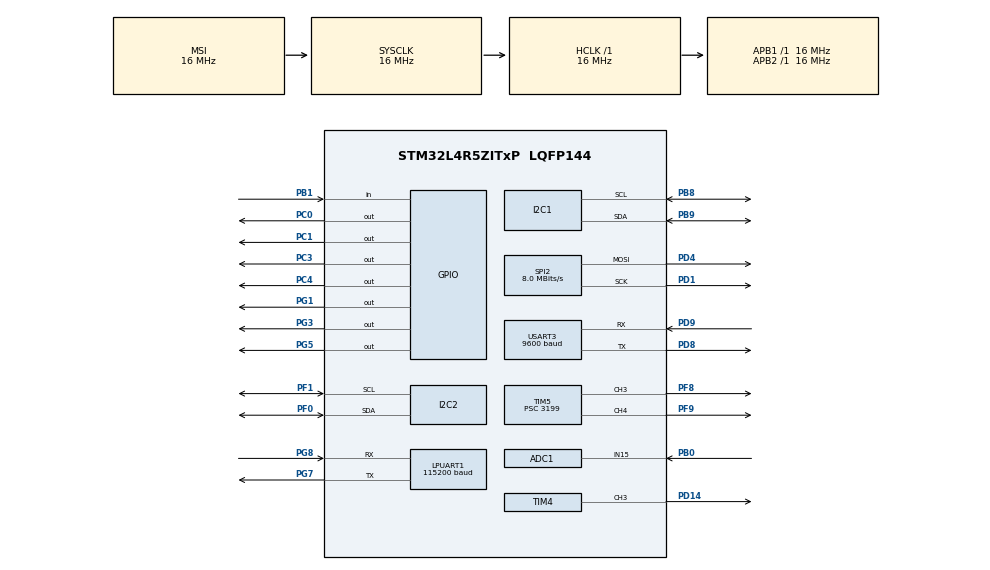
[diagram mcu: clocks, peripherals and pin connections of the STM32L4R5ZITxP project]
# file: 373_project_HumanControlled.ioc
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ADC1.Channel-4\#ChannelRegularConversion=ADC_CHANNEL_15
ADC1.NbrOfConversionFlag=1
ADC1.OffsetNumber-4\#ChannelRegularConversion=ADC_OFFSET_NONE
ADC1.Rank-4\#ChannelRegularConversion=1
ADC1.SamplingTime-4\#ChannelRegularConversion=ADC_SAMPLETIME_2CYCLES_5
ADC1.master=1
Dma.Request0=SPI2_TX
Dma.Request1=TIM4_CH3
Dma.SPI2_TX.0.Direction=DMA_MEMORY_TO_PERIPH
Dma.SPI2_TX.0.EventEnable=DISABLE
Dma.SPI2_TX.0.Instance=DMA1_Channel1
Dma.SPI2_TX.0.MemDataAlignment=DMA_MDATAALIGN_BYTE
Dma.SPI2_TX.0.MemInc=DMA_MINC_ENABLE
Dma.SPI2_TX.0.Mode=DMA_NORMAL
Dma.SPI2_TX.0.PeriphDataAlignment=DMA_PDATAALIGN_BYTE
Dma.SPI2_TX.0.PeriphInc=DMA_PINC_DISABLE
Dma.SPI2_TX.0.Polarity=HAL_DMAMUX_REQUEST_GEN_RISING
Dma.SPI2_TX.0.Priority=DMA_PRIORITY_LOW
Dma.SPI2_TX.0.RequestNumber=1
Dma.SPI2_TX.0.SignalID=NONE
Dma.SPI2_TX.0.SyncEnable=DISABLE
Dma.SPI2_TX.0.SyncPolarity=HAL_DMAMUX_SYNC_NO_EVENT
Dma.SPI2_TX.0.SyncRequestNumber=1
Dma.SPI2_TX.0.SyncSignalID=NONE
Dma.TIM4_CH3.1.Direction=DMA_MEMORY_TO_PERIPH
Dma.TIM4_CH3.1.EventEnable=DISABLE
Dma.TIM4_CH3.1.Instance=DMA1_Channel3
Dma.TIM4_CH3.1.MemDataAlignment=DMA_MDATAALIGN_WORD
Dma.TIM4_CH3.1.MemInc=DMA_MINC_ENABLE
Dma.TIM4_CH3.1.Mode=DMA_NORMAL
Dma.TIM4_CH3.1.PeriphDataAlignment=DMA_PDATAALIGN_WORD
Dma.TIM4_CH3.1.PeriphInc=DMA_PINC_DISABLE
Dma.TIM4_CH3.1.Polarity=HAL_DMAMUX_REQUEST_GEN_RISING
Dma.TIM4_CH3.1.Priority=DMA_PRIORITY_HIGH
Dma.TIM4_CH3.1.RequestNumber=1
Dma.TIM4_CH3.1.SignalID=NONE
Dma.TIM4_CH3.1.SyncEnable=DISABLE
Dma.TIM4_CH3.1.SyncPolarity=HAL_DMAMUX_SYNC_NO_EVENT
Dma.TIM4_CH3.1.SyncRequestNumber=1
Dma.TIM4_CH3.1.SyncSignalID=NONE
I2C1.Timing=0x00503D58
I2C2.Timing=0x00503D58
LPUART1.BaudRate=115200
LPUART1.WordLength=UART_WORDLENGTH_8B
Mcu.Family=STM32L4
Mcu.Name=STM32L4R5ZITxP
Mcu.Package=LQFP144
NVIC.DMA1_Channel1_IRQn=true\:0\:0\:false\:false\:true\:false\:true\:true
NVIC.DMA1_Channel3_IRQn=true\:0\:0\:false\:false\:true\:false\:true\:true
NVIC.PriorityGroup=NVIC_PRIORITYGROUP_4
NVIC.USART3_IRQn=true\:0\:0\:false\:false\:true\:true\:true\:true
PB0.Signal=ADCx_IN15
PB1.GPIO_PuPd=GPIO_PULLUP
PB1.Signal=GPIO_Input
PB8.Mode=I2C
PB8.Signal=I2C1_SCL
PB9.Mode=I2C
PB9.Signal=I2C1_SDA
PC0.Signal=GPIO_Output
PC1.Signal=GPIO_Output
PC3.Signal=GPIO_Output
PC4.Signal=GPIO_Output
PD1.Mode=TX_Only_Simplex_Unidirect_Master
PD1.Signal=SPI2_SCK
PD14.Signal=S_TIM4_CH3
PD4.Mode=TX_Only_Simplex_Unidirect_Master
PD4.Signal=SPI2_MOSI
PD8.Mode=Asynchronous
PD8.Signal=USART3_TX
PD9.Mode=Asynchronous
PD9.Signal=USART3_RX
PF0.Mode=I2C
PF0.Signal=I2C2_SDA
PF1.Mode=I2C
PF1.Signal=I2C2_SCL
PF8.Signal=S_TIM5_CH3
PF9.Signal=S_TIM5_CH4
PG1.Signal=GPIO_Output
PG3.Signal=GPIO_Output
PG5.Signal=GPIO_Output
PG7.Mode=Asynchronous
PG7.Signal=LPUART1_TX
PG8.Mode=Asynchronous
PG8.Signal=LPUART1_RX
ProjectManager.HeapSize=0x200
ProjectManager.StackSize=0x400
ProjectManager.TargetToolchain=STM32CubeIDE
RCC.ADCFreq_Value=64000000
RCC.AHBFreq_Value=16000000
RCC.APB1Freq_Value=16000000
RCC.APB1TimFreq_Value=16000000
RCC.APB2Freq_Value=16000000
RCC.APB2TimFreq_Value=16000000
RCC.CortexFreq_Value=16000000
RCC.HCLKFreq_Value=16000000
RCC.HSE_VALUE=8000000
RCC.HSI48_VALUE=48000000
RCC.HSI_VALUE=16000000
RCC.LSE_VALUE=32768
RCC.MSIClockRange=RCC_MSIRANGE_8
RCC.MSI_VALUE=16000000
RCC.SYSCLKFreq_VALUE=16000000
RCC.USBFreq_Value=64000000
RCC.VCOOutputFreq_Value=128000000
SH.ADCx_IN15.0=ADC1_IN15,IN15-Single-Ended
SH.S_TIM4_CH3.0=TIM4_CH3,PWM Generation3 CH3
SH.S_TIM5_CH3.0=TIM5_CH3,PWM Generation3 CH3
SH.S_TIM5_CH4.0=TIM5_CH4,PWM Generation4 CH4
SPI2.CalculateBaudRate=8.0 MBits/s
SPI2.DataSize=SPI_DATASIZE_8BIT
SPI2.Direction=SPI_DIRECTION_2LINES
SPI2.Mode=SPI_MODE_MASTER
SPI2.VirtualType=VM_MASTER
TIM4.AutoReloadPreload=TIM_AUTORELOAD_PRELOAD_ENABLE
TIM4.Channel-PWM\ Generation3\ CH3=TIM_CHANNEL_3
TIM4.Period=19
TIM5.Channel-PWM\ Generation3\ CH3=TIM_CHANNEL_3
TIM5.Channel-PWM\ Generation4\ CH4=TIM_CHANNEL_4
TIM5.Period=99
TIM5.Prescaler=3199
USART3.BaudRate=9600
USART3.VirtualMode-Asynchronous=VM_ASYNC
VP_TIM5_VS_ClockSourceINT.Mode=Internal
board=NUCLEO-L4R5ZI-P

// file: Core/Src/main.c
/* USER CODE BEGIN Header */
/**
  ******************************************************************************
  * @file           : main.c
  * @brief          : Main program body
  ******************************************************************************
  * @attention
  *
  * Copyright (c) 2026 STMicroelectronics.
  * All rights reserved.
  *
  * This software is licensed under terms that can be found in the LICENSE file
  * in the root directory of this software component.
  * If no LICENSE file comes with this software, it is provided AS-IS.
  *
  ******************************************************************************
  */
/* USER CODE END Header */
#include "main.h"

/* USER CODE BEGIN Includes */
#include "BNO055_STM32.h"
#include "st7789.h"
#include "ws2812.h"
#include "fonts.h"
#include <stdio.h>
#include <string.h>

// JC NFC Starts
#include <PN532.h>
// JC NFC Ends

/* USER CODE END Includes */

/* USER CODE BEGIN PD */
#define led_ARR 19
#define led_T1H 13
#define led_T0H 6

#define RX_BUFFER_SIZE 64          // Maximum length of an incoming message
/* USER CODE END PD */

ADC_HandleTypeDef hadc1;

I2C_HandleTypeDef hi2c1;
I2C_HandleTypeDef hi2c2;

UART_HandleTypeDef hlpuart1;
UART_HandleTypeDef huart3;

SPI_HandleTypeDef hspi2;
DMA_HandleTypeDef hdma_spi2_tx;

TIM_HandleTypeDef htim4;
TIM_HandleTypeDef htim5;
DMA_HandleTypeDef hdma_tim4_ch3;

/* USER CODE BEGIN PV */
static float robot_width=0.1; //10cm
volatile int powerup_acquired = 1;
int next_state_bl = 0;
volatile uint32_t last_btn_press = 0;
int send_starman = 0;

volatile uint32_t lap_start_time = 0;
volatile uint32_t last_lap_time = 0;
volatile uint32_t current_lap_time = 0;
volatile uint8_t  is_racing = 0; // 0 = stopped, 1 = running

volatile uint32_t car1_last_time = 0;
volatile uint32_t car1_best_time = 0xFFFFFFFF; // 0xFFFFFFFF acts as our "empty" state

volatile uint32_t car2_last_time = 0;
volatile uint32_t car2_best_time = 0xFFFFFFFF;

static char tx_buffer[32];
/* USER CODE END PV */

void SystemClock_Config(void);
static void MX_GPIO_Init(void);
static void MX_DMA_Init(void);
static void MX_TIM5_Init(void);
static void MX_I2C1_Init(void);
static void MX_LPUART1_UART_Init(void);
static void MX_ADC1_Init(void);
static void MX_SPI2_Init(void);
static void MX_I2C2_Init(void);
static void MX_TIM4_Init(void);
static void MX_USART3_UART_Init(void);

/* USER CODE BEGIN 0 */
uint8_t rx_byte;                   // Temporary storage for the single byte just received
uint8_t rx_index = 0;              // Current position in the buffer
char rx_buffer[RX_BUFFER_SIZE];    // Array to hold the full incoming string
volatile uint8_t rx_data_ready = 0; // Flag to indicate a full message has arrived

void record_lap(int car_number, uint32_t lap_time_ms) {
    if (car_number == 1) { // let 1 be the wall-e
        car1_last_time = lap_time_ms;
        if (lap_time_ms < car1_best_time) {
            car1_best_time = lap_time_ms;
        }
    }
    else if (car_number == 2) { // regular car
        car2_last_time = lap_time_ms;
        if (lap_time_ms < car2_best_time) {
            car2_best_time = lap_time_ms;
        }
    }
}

void print_time_line(uint16_t y, const char* label, uint32_t time_ms, uint16_t color) {
    char buf[32];

    // If no lap has been recorded yet, show dashes
    if (time_ms == 0xFFFFFFFF || time_ms == 0) {
        sprintf(buf, "%s: --.-- s", label);
    } else {
        uint32_t sec = time_ms / 1000;
        uint32_t hun = (time_ms % 1000) / 10;
        sprintf(buf, "%s: %3lu.%02lu s", label, sec, hun);
    }

    ST7789_WriteString(10, y, buf, Font_11x18, color, BLACK);
}

void update_lcd_display(void) {
    // --- Car 1 ---
    print_time_line(20, "C1 Best Time", car1_best_time, YELLOW);
    print_time_line(45, "C1 Last Time", car1_last_time, RED);

    // --- Car 2 ---
    print_time_line(90, "C2 Best Time", car2_best_time, CYAN);
    print_time_line(115,"C2 Last Time", car2_last_time, BLUE);
}

void HAL_GPIO_EXTI_Callback(uint16_t pin) {
	if (pin == GPIO_PIN_13) {
		uint32_t current_time = HAL_GetTick();

		// 2. Only execute if 200 milliseconds have passed since the last press
		if (current_time - last_btn_press > 200) {

			HAL_GPIO_WritePin(GPIOB, GPIO_PIN_7, next_state_bl);
			powerup_acquired = 0;
			next_state_bl = !next_state_bl;

			// 3. Update the last press time
			last_btn_press = current_time;

			send_starman = 1;
		}
	}
}

void trigger_lap(void) {
    if (is_racing == 0) {
        // Start the race for the very first time
        lap_start_time = HAL_GetTick();
        is_racing = 1;
    } else {
        // We are already racing, so save the current time as our "Last Lap"
        last_lap_time = HAL_GetTick() - lap_start_time;
        // Reset the start time for the next lap
        lap_start_time = HAL_GetTick();
    }
}

// Call this constantly in your main loop to update the clock
void update_stopwatch(void) {
    if (is_racing == 1) {
        current_lap_time = HAL_GetTick() - lap_start_time;
    }
}

//DRV8833 has IN1 as forward and IN2 as backward.
// IN1=PD15=CH4, IN2=PD14=CH3
//speed is -100 to 100
void motor_a_set (int speed){
	speed = speed > 100 ? 100 : (speed < -100 ? -100 : speed);
	if (speed > 0) {
	   //IN1, IN2 = 1,0; PC0, PC1
		HAL_GPIO_WritePin(GPIOC, GPIO_PIN_0, GPIO_PIN_SET);
		HAL_GPIO_WritePin(GPIOC, GPIO_PIN_1, GPIO_PIN_RESET);
		//ENA = PWM , PF8 TIM5_CH3
		TIM5->CCR3 = speed;
	} else if (speed < 0) {
		 //IN1, IN2 = 0,1; PC0, PC1
		HAL_GPIO_WritePin(GPIOC, GPIO_PIN_0, GPIO_PIN_RESET);
		HAL_GPIO_WritePin(GPIOC, GPIO_PIN_1, GPIO_PIN_SET);
		//ENB = PWM , PF9 TIM5_CH3
		TIM5->CCR3 = -speed;
	} else {
		TIM5->CCR3 = 0;      // stop
	}
}
void motor_b_set (int speed){
	speed = speed > 100 ? 100 : (speed < -100 ? -100 : speed);
	if (speed > 0) {
	   //IN3, IN4 = 1,0; PC3, PC4
		HAL_GPIO_WritePin(GPIOC, GPIO_PIN_3, GPIO_PIN_SET);
		HAL_GPIO_WritePin(GPIOC, GPIO_PIN_4, GPIO_PIN_RESET);
		//ENB = PWM , PF9 TIM5_CH4
		TIM5->CCR4 = speed;
	} else if (speed < 0) {
		 //IN1, IN2 = 0,1; PC0, PC1
		HAL_GPIO_WritePin(GPIOC, GPIO_PIN_3, GPIO_PIN_RESET);
		HAL_GPIO_WritePin(GPIOC, GPIO_PIN_4, GPIO_PIN_SET);
		//ENB = PWM , PF9 TIM5_CH4
		TIM5->CCR4 = -speed;
	} else {
		TIM5->CCR4 = 0;      // stop
		HAL_GPIO_WritePin(GPIOC, GPIO_PIN_3, GPIO_PIN_SET);
		HAL_GPIO_WritePin(GPIOC, GPIO_PIN_4, GPIO_PIN_SET);
	}
}
void test_motor_set (){
	motor_a_set(10);
	HAL_Delay(2000);
	motor_a_set(100);
	HAL_Delay(4000);
	motor_a_set(-50);
	HAL_Delay(2000);
	motor_a_set(-100);
	HAL_Delay(2000);
	motor_a_set(0);
	HAL_Delay(8000);

	motor_b_set(10);
	HAL_Delay(2000);
	motor_b_set(100);
	HAL_Delay(4000);
	motor_b_set(-50);
	HAL_Delay(2000);
	motor_b_set(-100);
	HAL_Delay(2000);
	motor_b_set(0);
	HAL_Delay(2000);

}
//w is rad per sec, w=0 straight, w>0 is go to left, and w<0 is go to right
//speed is -100 to 100.
void drive (int w_speed, int speed){
    // Change HAL_UART_GetState(&huart3) to huart3.gState
	if (huart3.gState == HAL_UART_STATE_READY && send_starman == 0) {

        sprintf(tx_buffer, "{%d,%d}\r\n", speed, -w_speed);
        HAL_UART_Transmit_IT(&huart3, (uint8_t*)tx_buffer, strlen(tx_buffer));

    }
    else if (huart3.gState == HAL_UART_STATE_READY) {

        //sending starman when we have an interrupt happen
        sprintf(tx_buffer, "{STARMAN}\r\n");
        HAL_UART_Transmit_IT(&huart3, (uint8_t*)tx_buffer, strlen(tx_buffer));
        send_starman = 0;
    }

    // Minor fix: It is safer to use printf("%s", ...) rather than printf(buffer)
    //printf("%s", tx_buffer);
    HAL_Delay(50);
}
void test_drive (void){
	drive(0, 20);
	HAL_Delay(500);
	drive(200, 0);
	HAL_Delay(500);
}
int32_t read_IMU (){
	static BNO055_Sensors_t sensors = {0};
	static BNO055_Sensors_t sensors_old = {0};
	ReadData(&sensors, SENSOR_EULER | SENSOR_LINACC);
	if (sensors.Euler.Z > sensors_old.Euler.Z + 100) sensors.Euler.Z = sensors_old.Euler.Z;
	sensors_old=sensors;
	return (int32_t)sensors.Euler.Z; // 60 is offset needed for controller
}
void test_IMU (){
	  printf("pitch: %ld deg\n", read_IMU());
}
// Returns -4 to 27 based on scaled down and offset Raw 12-bit ADC value (0–4095) from PB0 / ADC1_IN15
int32_t read_adc(void) {
    HAL_ADC_Start(&hadc1);
    HAL_ADC_PollForConversion(&hadc1, HAL_MAX_DELAY);
    return (int32_t)(2750-HAL_ADC_GetValue(&hadc1))/100;
}
void test_read_adc(void){
	printf("joystick data: %ld\n", read_adc() );
}
void test_adc_IMU(void){
	printf("pitch: %ld deg, joystick data: %ld\n", read_IMU(), read_adc());
}
int read_joystick_sw(void){
	return HAL_GPIO_ReadPin(GPIOB, GPIO_PIN_1) == GPIO_PIN_RESET; // 1 when pressed, 0 when not
}
void drive_controller (){
	int32_t speed = read_adc()*4;
	if (speed == 4) {
		speed = 0;
	}
	int32_t w_speed = read_IMU()*4 + 60;

	int sw = read_joystick_sw();
	static int last_sw_state = 0; // Remembers the switch state between loops

	// Only flag to send STARMAN if the switch is pressed NOW, but wasn't pressed LAST LOOP
	if (sw == 1 && last_sw_state == 0) {
		send_starman = 1;
		printf("STARMAN triggered via Joystick!\r\n");
	}

	// Update the switch state for the next time the loop runs
	last_sw_state = sw;

	drive(w_speed,speed);

	//printf("speed: %ld , ang_speed: %ld, sw: %d\n", speed, w_speed, sw);
}
void do_nfc_and_strip (){
	static uint8_t uid[7] = {0};
	static uint8_t uidLen = 0;
	static uint8_t boost_on = 0;
	static int boost_max_time = 10000;
	static int boost_start_time = 0;
	static int boost_current_time = 0;

	if(PN532_ReadPassiveTargetID(uid, &uidLen) == HAL_OK){
		HAL_Delay(50);
		// Power-Up Trigger (UID: 0x4, 0x59, 0x45, 0x69, 0xBC, 0x2A, 0x81)
		// JC Note: Think that the UID for all of them is 0x2009ffec but the idv uid[i] are dif
//		if( (uid[0] == 0x4) && (uid[1] == 0x59) && (uid[2] == 0x45) && (uid[3] == 0x69) && (uid[4] == 0xBC) && (uid[5] == 0x2A) && (uid[6] == 0x81) ){
		if( (uid[0] == 0x4) && (uid[1] == 0xE8) && (uid[2] == 0xFA) && (uid[3] == 0x68) && (uid[4] == 0xBC) && (uid[5] == 0x2A) && (uid[6] == 0x81) ){
			boost_on = 1;
			boost_start_time = HAL_GetTick();
		}
	} else {
		// Clear
		for(int i = 0; i < 7; i++) uid[i] = 0;
		HAL_Delay(50);
	}

	if(boost_on){
		doStar();
		boost_current_time = HAL_GetTick();
		if((boost_current_time - boost_start_time) >= boost_max_time){
			boost_on = 0;
		}
	}
}
void do_scoreboard (){
	for (int i=0; i<9; i++){
	  Scoreboard_Update(1);
	  //HAL_Delay(1000);
	  Scoreboard_Update(2);
	  //HAL_Delay(1000);
	}
	Scoreboard_Update(0);
}
/* USER CODE END 0 */

int main(void)
{

  /* MCU Configuration--------------------------------------------------------*/

  /* Reset of all peripherals, Initializes the Flash interface and the Systick. */
  HAL_Init();

  /* Configure the system clock */
  SystemClock_Config();

  /* Initialize all configured peripherals */
  MX_GPIO_Init();
  MX_DMA_Init();
  MX_TIM5_Init();
  MX_I2C1_Init();
  MX_LPUART1_UART_Init();
  MX_ADC1_Init();
  MX_SPI2_Init();
  MX_I2C2_Init();
  MX_TIM4_Init();
  MX_USART3_UART_Init();
  /* USER CODE BEGIN 2 */
  HAL_TIM_PWM_Start(&htim5, TIM_CHANNEL_3);
  HAL_TIM_PWM_Start(&htim5, TIM_CHANNEL_4);
  HAL_ADC_Start(&hadc1);

  BNO055_Init_t bno_init = {
      .Unit_Sel    = UNIT_ORI_WINDOWS | UNIT_EUL_DEG | UNIT_GYRO_DPS | UNIT_ACC_MS2 | UNIT_TEMP_CELCIUS,
      .Axis        = DEFAULT_AXIS_REMAP,
      .Axis_sign   = DEFAULT_AXIS_SIGN,
      .Mode        = BNO055_NORMAL_MODE,
      .OP_Modes    = IMU,
      .Clock_Source = CLOCK_INTERNAL,
      .ACC_Range   = Range_4G
  };
  BNO055_Init(bno_init);
  ST7789_Init(); //if module disconnected, it wont get to the while.
  ST7789_Fill_Color(BLACK);
  update_lcd_display();
  ws2812_init(&htim4);

//  ws2812_set_pixel(0,255,255,255);

//  ws2812_set_pixel(0, 200, 0,   0);   // red
//  ws2812_set_pixel(1, 0,   200, 0);   // green
//  ws2812_set_pixel(2, 0,   0,   255); // blue
//
//  ws2812_show();

  // JC NFC Starts

  HAL_Delay(1000);
  PN532_Init(&hi2c2);
  HAL_Delay(1000);

  // JC NFC Ends

  HAL_UART_Receive_IT(&huart3, &rx_byte, 1);

  /* USER CODE END 2 */

  /* Infinite loop */
  /* USER CODE BEGIN WHILE */
//  BNO055_Sensors_t sensors_old = {0};
//  BNO055_Sensors_t sensors = {0};
//  int null_thresh= 0.
  while (1)
  {
    /* USER CODE END WHILE */

    /* USER CODE BEGIN 3 */
//	  test_motor_set();
//	  test_drive();
//	  test_IMU();
//	  test_read_adc();
//	  test_adc_IMU();

	if (rx_data_ready == 1) {
		char extracted_message[RX_BUFFER_SIZE];
		uint32_t received_time = 0;

		// Parse the data between the brackets
		// %31[^}] means "read up to 31 characters, stopping when you hit a '}'"
		if (sscanf(rx_buffer, "{%31[^}]}", extracted_message) == 1) {
			printf("Valid message received: %s\r\n", extracted_message);

			// Check if the message is the "jetson" trigger for Car 1
			if (strstr(extracted_message, "jetson") != NULL) {
			    if (is_racing == 0) {
			        // Start the internal timer for Car 1
			        lap_start_time = HAL_GetTick();
			        is_racing = 1;
			        printf("Car 1 Race Started!\r\n");
			    } else {
			        // Calculate Car 1 lap time based on internal ticks
			        uint32_t current_time = HAL_GetTick();
			        uint32_t lap_time = current_time - lap_start_time;

			        // Reset the start time for the next lap
			        lap_start_time = current_time;

			        // Record and update screen
			        record_lap(1, lap_time);
			        update_lcd_display();
			        printf("Car 1 Lap Recorded: %lu ms\r\n", lap_time);
			    }
			}
			// If not "jetson", check if it is a numeric lap time for Car 2
			else if (sscanf(extracted_message, "%lu", &received_time) == 1) {
				// Record the parsed time for Car 2 and update screen
				record_lap(2, received_time);
				update_lcd_display();
				printf("Car 2 Lap Recorded: %lu ms\r\n", received_time);
			}
			else {
				// Handle unknown bracketed messages
				printf("Unknown command received: %s\r\n", extracted_message);
			}

		} else {
			printf("Invalid format received: %s\r\n", rx_buffer);
		}

		// Reset the flag to listen for the next message
		rx_data_ready = 0;
	}

	  drive_controller();
//	  ST7789_Test();
//	  update_lcd_display();
//	  do_scoreboard();
//	  doStar();
//	  do_nfc_and_strip();

  }
  /* USER CODE END 3 */
}

void SystemClock_Config(void)
{
  RCC_OscInitTypeDef RCC_OscInitStruct = {0};
  RCC_ClkInitTypeDef RCC_ClkInitStruct = {0};

  /** Configure the main internal regulator output voltage
  */
  if (HAL_PWREx_ControlVoltageScaling(PWR_REGULATOR_VOLTAGE_SCALE1) != HAL_OK)
  {
    Error_Handler();
  }

  /** Initializes the RCC Oscillators according to the specified parameters
  * in the RCC_OscInitTypeDef structure.
  */
  RCC_OscInitStruct.OscillatorType = RCC_OSCILLATORTYPE_MSI;
  RCC_OscInitStruct.MSIState = RCC_MSI_ON;
  RCC_OscInitStruct.MSICalibrationValue = 0;
  RCC_OscInitStruct.MSIClockRange = RCC_MSIRANGE_8;
  RCC_OscInitStruct.PLL.PLLState = RCC_PLL_NONE;
  if (HAL_RCC_OscConfig(&RCC_OscInitStruct) != HAL_OK)
  {
    Error_Handler();
  }

  /** Initializes the CPU, AHB and APB buses clocks
  */
  RCC_ClkInitStruct.ClockType = RCC_CLOCKTYPE_HCLK|RCC_CLOCKTYPE_SYSCLK
                              |RCC_CLOCKTYPE_PCLK1|RCC_CLOCKTYPE_PCLK2;
  RCC_ClkInitStruct.SYSCLKSource = RCC_SYSCLKSOURCE_MSI;
  RCC_ClkInitStruct.AHBCLKDivider = RCC_SYSCLK_DIV1;
  RCC_ClkInitStruct.APB1CLKDivider = RCC_HCLK_DIV1;
  RCC_ClkInitStruct.APB2CLKDivider = RCC_HCLK_DIV1;

  if (HAL_RCC_ClockConfig(&RCC_ClkInitStruct, FLASH_LATENCY_0) != HAL_OK)
  {
    Error_Handler();
  }
}

static void MX_ADC1_Init(void)
{

  ADC_ChannelConfTypeDef sConfig = {0};

  /** Common config
  */
  hadc1.Instance = ADC1;
  hadc1.Init.ClockPrescaler = ADC_CLOCK_ASYNC_DIV1;
  hadc1.Init.Resolution = ADC_RESOLUTION_12B;
  hadc1.Init.DataAlign = ADC_DATAALIGN_RIGHT;
  hadc1.Init.ScanConvMode = ADC_SCAN_DISABLE;
  hadc1.Init.EOCSelection = ADC_EOC_SINGLE_CONV;
  hadc1.Init.LowPowerAutoWait = DISABLE;
  hadc1.Init.ContinuousConvMode = DISABLE;
  hadc1.Init.NbrOfConversion = 1;
  hadc1.Init.DiscontinuousConvMode = DISABLE;
  hadc1.Init.ExternalTrigConv = ADC_SOFTWARE_START;
  hadc1.Init.ExternalTrigConvEdge = ADC_EXTERNALTRIGCONVEDGE_NONE;
  hadc1.Init.DMAContinuousRequests = DISABLE;
  hadc1.Init.Overrun = ADC_OVR_DATA_PRESERVED;
  hadc1.Init.OversamplingMode = DISABLE;
  if (HAL_ADC_Init(&hadc1) != HAL_OK)
  {
    Error_Handler();
  }

  /** Configure Regular Channel
  */
  sConfig.Channel = ADC_CHANNEL_15;
  sConfig.Rank = ADC_REGULAR_RANK_1;
  sConfig.SamplingTime = ADC_SAMPLETIME_2CYCLES_5;
  sConfig.SingleDiff = ADC_SINGLE_ENDED;
  sConfig.OffsetNumber = ADC_OFFSET_NONE;
  sConfig.Offset = 0;
  if (HAL_ADC_ConfigChannel(&hadc1, &sConfig) != HAL_OK)
  {
    Error_Handler();
  }

}

static void MX_I2C1_Init(void)
{

  hi2c1.Instance = I2C1;
  hi2c1.Init.Timing = 0x00503D58;
  hi2c1.Init.OwnAddress1 = 0;
  hi2c1.Init.AddressingMode = I2C_ADDRESSINGMODE_7BIT;
  hi2c1.Init.DualAddressMode = I2C_DUALADDRESS_DISABLE;
  hi2c1.Init.OwnAddress2 = 0;
  hi2c1.Init.OwnAddress2Masks = I2C_OA2_NOMASK;
  hi2c1.Init.GeneralCallMode = I2C_GENERALCALL_DISABLE;
  hi2c1.Init.NoStretchMode = I2C_NOSTRETCH_DISABLE;
  if (HAL_I2C_Init(&hi2c1) != HAL_OK)
  {
    Error_Handler();
  }

  /** Configure Analogue filter
  */
  if (HAL_I2CEx_ConfigAnalogFilter(&hi2c1, I2C_ANALOGFILTER_ENABLE) != HAL_OK)
  {
    Error_Handler();
  }

  /** Configure Digital filter
  */
  if (HAL_I2CEx_ConfigDigitalFilter(&hi2c1, 0) != HAL_OK)
  {
    Error_Handler();
  }

}

static void MX_I2C2_Init(void)
{

  hi2c2.Instance = I2C2;
  hi2c2.Init.Timing = 0x00503D58;
  hi2c2.Init.OwnAddress1 = 0;
  hi2c2.Init.AddressingMode = I2C_ADDRESSINGMODE_7BIT;
  hi2c2.Init.DualAddressMode = I2C_DUALADDRESS_DISABLE;
  hi2c2.Init.OwnAddress2 = 0;
  hi2c2.Init.OwnAddress2Masks = I2C_OA2_NOMASK;
  hi2c2.Init.GeneralCallMode = I2C_GENERALCALL_DISABLE;
  hi2c2.Init.NoStretchMode = I2C_NOSTRETCH_DISABLE;
  if (HAL_I2C_Init(&hi2c2) != HAL_OK)
  {
    Error_Handler();
  }

  /** Configure Analogue filter
  */
  if (HAL_I2CEx_ConfigAnalogFilter(&hi2c2, I2C_ANALOGFILTER_ENABLE) != HAL_OK)
  {
    Error_Handler();
  }

  /** Configure Digital filter
  */
  if (HAL_I2CEx_ConfigDigitalFilter(&hi2c2, 0) != HAL_OK)
  {
    Error_Handler();
  }

}

static void MX_LPUART1_UART_Init(void)
{

  hlpuart1.Instance = LPUART1;
  hlpuart1.Init.BaudRate = 115200;
  hlpuart1.Init.WordLength = UART_WORDLENGTH_8B;
  hlpuart1.Init.StopBits = UART_STOPBITS_1;
  hlpuart1.Init.Parity = UART_PARITY_NONE;
  hlpuart1.Init.Mode = UART_MODE_TX_RX;
  hlpuart1.Init.HwFlowCtl = UART_HWCONTROL_NONE;
  hlpuart1.Init.OneBitSampling = UART_ONE_BIT_SAMPLE_DISABLE;
  hlpuart1.Init.ClockPrescaler = UART_PRESCALER_DIV1;
  hlpuart1.AdvancedInit.AdvFeatureInit = UART_ADVFEATURE_NO_INIT;
  hlpuart1.FifoMode = UART_FIFOMODE_DISABLE;
  if (HAL_UART_Init(&hlpuart1) != HAL_OK)
  {
    Error_Handler();
  }
  if (HAL_UARTEx_SetTxFifoThreshold(&hlpuart1, UART_TXFIFO_THRESHOLD_1_8) != HAL_OK)
  {
    Error_Handler();
  }
  if (HAL_UARTEx_SetRxFifoThreshold(&hlpuart1, UART_RXFIFO_THRESHOLD_1_8) != HAL_OK)
  {
    Error_Handler();
  }
  if (HAL_UARTEx_DisableFifoMode(&hlpuart1) != HAL_OK)
  {
    Error_Handler();
  }

}

static void MX_USART3_UART_Init(void)
{

  huart3.Instance = USART3;
  huart3.Init.BaudRate = 9600;
  huart3.Init.WordLength = UART_WORDLENGTH_8B;
  huart3.Init.StopBits = UART_STOPBITS_1;
  huart3.Init.Parity = UART_PARITY_NONE;
  huart3.Init.Mode = UART_MODE_TX_RX;
  huart3.Init.HwFlowCtl = UART_HWCONTROL_NONE;
  huart3.Init.OverSampling = UART_OVERSAMPLING_16;
  huart3.Init.OneBitSampling = UART_ONE_BIT_SAMPLE_DISABLE;
  huart3.Init.ClockPrescaler = UART_PRESCALER_DIV1;
  huart3.AdvancedInit.AdvFeatureInit = UART_ADVFEATURE_NO_INIT;
  if (HAL_UART_Init(&huart3) != HAL_OK)
  {
    Error_Handler();
  }
  if (HAL_UARTEx_SetTxFifoThreshold(&huart3, UART_TXFIFO_THRESHOLD_1_8) != HAL_OK)
  {
    Error_Handler();
  }
  if (HAL_UARTEx_SetRxFifoThreshold(&huart3, UART_RXFIFO_THRESHOLD_1_8) != HAL_OK)
  {
    Error_Handler();
  }
  if (HAL_UARTEx_DisableFifoMode(&huart3) != HAL_OK)
  {
    Error_Handler();
  }

}

static void MX_SPI2_Init(void)
{

  /* SPI2 parameter configuration*/
  hspi2.Instance = SPI2;
  hspi2.Init.Mode = SPI_MODE_MASTER;
  hspi2.Init.Direction = SPI_DIRECTION_2LINES;
  hspi2.Init.DataSize = SPI_DATASIZE_8BIT;
  hspi2.Init.CLKPolarity = SPI_POLARITY_LOW;
  hspi2.Init.CLKPhase = SPI_PHASE_1EDGE;
  hspi2.Init.NSS = SPI_NSS_SOFT;
  hspi2.Init.BaudRatePrescaler = SPI_BAUDRATEPRESCALER_2;
  hspi2.Init.FirstBit = SPI_FIRSTBIT_MSB;
  hspi2.Init.TIMode = SPI_TIMODE_DISABLE;
  hspi2.Init.CRCCalculation = SPI_CRCCALCULATION_DISABLE;
  hspi2.Init.CRCPolynomial = 7;
  hspi2.Init.CRCLength = SPI_CRC_LENGTH_DATASIZE;
  hspi2.Init.NSSPMode = SPI_NSS_PULSE_ENABLE;
  if (HAL_SPI_Init(&hspi2) != HAL_OK)
  {
    Error_Handler();
  }

}

static void MX_TIM4_Init(void)
{

  TIM_MasterConfigTypeDef sMasterConfig = {0};
  TIM_OC_InitTypeDef sConfigOC = {0};

  htim4.Instance = TIM4;
  htim4.Init.Prescaler = 0;
  htim4.Init.CounterMode = TIM_COUNTERMODE_UP;
  htim4.Init.Period = 19;
  htim4.Init.ClockDivision = TIM_CLOCKDIVISION_DIV1;
  htim4.Init.AutoReloadPreload = TIM_AUTORELOAD_PRELOAD_ENABLE;
  if (HAL_TIM_PWM_Init(&htim4) != HAL_OK)
  {
    Error_Handler();
  }
  sMasterConfig.MasterOutputTrigger = TIM_TRGO_RESET;
  sMasterConfig.MasterSlaveMode = TIM_MASTERSLAVEMODE_DISABLE;
  if (HAL_TIMEx_MasterConfigSynchronization(&htim4, &sMasterConfig) != HAL_OK)
  {
    Error_Handler();
  }
  sConfigOC.OCMode = TIM_OCMODE_PWM1;
  sConfigOC.Pulse = 0;
  sConfigOC.OCPolarity = TIM_OCPOLARITY_HIGH;
  sConfigOC.OCFastMode = TIM_OCFAST_DISABLE;
  if (HAL_TIM_PWM_ConfigChannel(&htim4, &sConfigOC, TIM_CHANNEL_3) != HAL_OK)
  {
    Error_Handler();
  }
  HAL_TIM_MspPostInit(&htim4);

}

static void MX_TIM5_Init(void)
{

  TIM_ClockConfigTypeDef sClockSourceConfig = {0};
  TIM_MasterConfigTypeDef sMasterConfig = {0};
  TIM_OC_InitTypeDef sConfigOC = {0};

  htim5.Instance = TIM5;
  htim5.Init.Prescaler = 3199;
  htim5.Init.CounterMode = TIM_COUNTERMODE_UP;
  htim5.Init.Period = 99;
  htim5.Init.ClockDivision = TIM_CLOCKDIVISION_DIV1;
  htim5.Init.AutoReloadPreload = TIM_AUTORELOAD_PRELOAD_DISABLE;
  if (HAL_TIM_Base_Init(&htim5) != HAL_OK)
  {
    Error_Handler();
  }
  sClockSourceConfig.ClockSource = TIM_CLOCKSOURCE_INTERNAL;
  if (HAL_TIM_ConfigClockSource(&htim5, &sClockSourceConfig) != HAL_OK)
  {
    Error_Handler();
  }
  if (HAL_TIM_PWM_Init(&htim5) != HAL_OK)
  {
    Error_Handler();
  }
  sMasterConfig.MasterOutputTrigger = TIM_TRGO_RESET;
  sMasterConfig.MasterSlaveMode = TIM_MASTERSLAVEMODE_DISABLE;
  if (HAL_TIMEx_MasterConfigSynchronization(&htim5, &sMasterConfig) != HAL_OK)
  {
    Error_Handler();
  }
  sConfigOC.OCMode = TIM_OCMODE_PWM1;
  sConfigOC.Pulse = 0;
  sConfigOC.OCPolarity = TIM_OCPOLARITY_HIGH;
  sConfigOC.OCFastMode = TIM_OCFAST_DISABLE;
  if (HAL_TIM_PWM_ConfigChannel(&htim5, &sConfigOC, TIM_CHANNEL_3) != HAL_OK)
  {
    Error_Handler();
  }
  if (HAL_TIM_PWM_ConfigChannel(&htim5, &sConfigOC, TIM_CHANNEL_4) != HAL_OK)
  {
    Error_Handler();
  }
  HAL_TIM_MspPostInit(&htim5);

}

static void MX_DMA_Init(void)
{

  /* DMA controller clock enable */
  __HAL_RCC_DMAMUX1_CLK_ENABLE();
  __HAL_RCC_DMA1_CLK_ENABLE();

  /* DMA interrupt init */
  /* DMA1_Channel1_IRQn interrupt configuration */
  HAL_NVIC_SetPriority(DMA1_Channel1_IRQn, 0, 0);
  HAL_NVIC_EnableIRQ(DMA1_Channel1_IRQn);
  /* DMA1_Channel3_IRQn interrupt configuration */
  HAL_NVIC_SetPriority(DMA1_Channel3_IRQn, 0, 0);
  HAL_NVIC_EnableIRQ(DMA1_Channel3_IRQn);

}

static void MX_GPIO_Init(void)
{
  GPIO_InitTypeDef GPIO_InitStruct = {0};

  /* GPIO Ports Clock Enable */
  __HAL_RCC_GPIOF_CLK_ENABLE();
  __HAL_RCC_GPIOC_CLK_ENABLE();
  __HAL_RCC_GPIOB_CLK_ENABLE();
  __HAL_RCC_GPIOG_CLK_ENABLE();
  __HAL_RCC_GPIOD_CLK_ENABLE();
  HAL_PWREx_EnableVddIO2();

  /*Configure GPIO pin Output Level */
  HAL_GPIO_WritePin(GPIOC, GPIO_PIN_0|GPIO_PIN_1|GPIO_PIN_3|GPIO_PIN_4, GPIO_PIN_RESET);

  /*Configure GPIO pin Output Level */
  HAL_GPIO_WritePin(GPIOG, GPIO_PIN_1|GPIO_PIN_3|GPIO_PIN_5, GPIO_PIN_RESET);

  /*Configure GPIO pins : PC0 PC1 PC3 PC4 */
  GPIO_InitStruct.Pin = GPIO_PIN_0|GPIO_PIN_1|GPIO_PIN_3|GPIO_PIN_4;
  GPIO_InitStruct.Mode = GPIO_MODE_OUTPUT_PP;
  GPIO_InitStruct.Pull = GPIO_NOPULL;
  GPIO_InitStruct.Speed = GPIO_SPEED_FREQ_LOW;
  HAL_GPIO_Init(GPIOC, &GPIO_InitStruct);

  /*Configure GPIO pin : PB1 */
  GPIO_InitStruct.Pin = GPIO_PIN_1;
  GPIO_InitStruct.Mode = GPIO_MODE_INPUT;
  GPIO_InitStruct.Pull = GPIO_PULLUP;
  HAL_GPIO_Init(GPIOB, &GPIO_InitStruct);

  /*Configure GPIO pins : PG1 PG3 PG5 */
  GPIO_InitStruct.Pin = GPIO_PIN_1|GPIO_PIN_3|GPIO_PIN_5;
  GPIO_InitStruct.Mode = GPIO_MODE_OUTPUT_PP;
  GPIO_InitStruct.Pull = GPIO_NOPULL;
  GPIO_InitStruct.Speed = GPIO_SPEED_FREQ_LOW;
  HAL_GPIO_Init(GPIOG, &GPIO_InitStruct);

}

/* USER CODE BEGIN 4 */

#ifdef __GNUC__
#define PUTCHAR_PROTOTYPE int __io_putchar(int ch)
#else
  #define PUTCHAR_PROTOTYPE int fputc(int ch, FILE *f)
#endif /* __GNUC__ */
PUTCHAR_PROTOTYPE
{
  HAL_UART_Transmit(&hlpuart1, (uint8_t *)&ch, 1, 0xFFFF);
  return ch;
}

void HAL_UART_RxCpltCallback(UART_HandleTypeDef *huart)
{
    if (huart->Instance == USART3) {

        // Define what character marks the end of your message.
        if (rx_byte == '\n' || rx_byte == '}') {

            // NEW: Only finalize the message if we actually captured data!
            if (rx_index > 0) {
                if (rx_byte == '}') {
                    rx_buffer[rx_index++] = rx_byte;
                }

                rx_buffer[rx_index] = '\0';
                rx_data_ready = 1;
                rx_index = 0;
            }

        } else if (rx_byte != '\r') {
            rx_buffer[rx_index++] = rx_byte;

            if (rx_index >= RX_BUFFER_SIZE - 1) {
                rx_index = 0;
            }
        }

        // Re-arm the interrupt
        HAL_UART_Receive_IT(&huart3, &rx_byte, 1);
    }
}

//void HAL_UART_TxCpltCallback(UART_HandleTypeDef *huart)
//{
//	if (huart->Instance == USART3)
//	{
//		if (send_starman == 1) {
//			send_starman = 0;
//		}
//	}
//}

void HAL_UART_ErrorCallback(UART_HandleTypeDef *huart)
{
    if (huart->Instance == USART3) {
        // Re-arm the interrupt so we don't go deaf
        HAL_UART_Receive_IT(&huart3, &rx_byte, 1);
    }
}

/* USER CODE END 4 */

void Error_Handler(void)
{
  __disable_irq();
  while (1)
  {
  }
}
